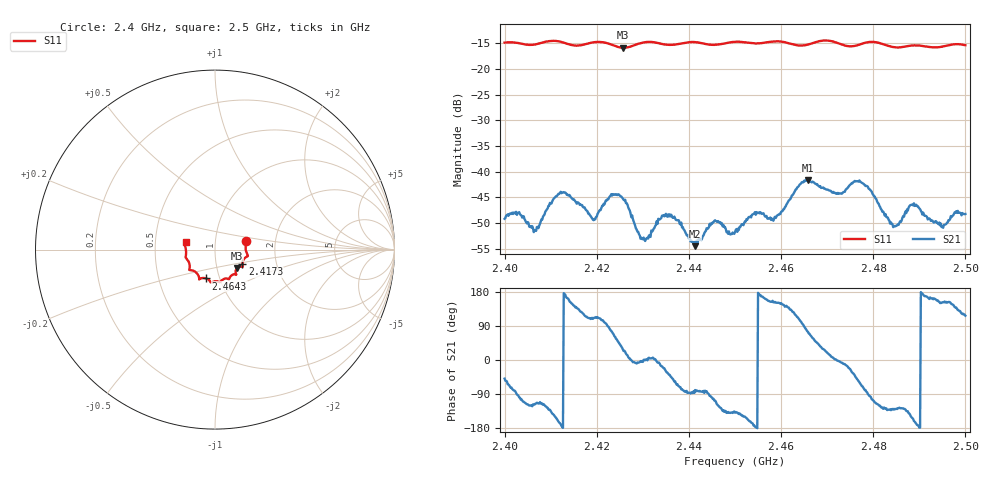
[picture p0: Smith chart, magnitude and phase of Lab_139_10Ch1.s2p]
# Hz S RI R 50
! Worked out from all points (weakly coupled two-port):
!   601 points, 2.4 GHz to 2.5 GHz, reference 50 ohm
!   highest |S21| = -41.63 dB at 2.4658 GHz (marker M1); lowest = -54.5 dB at 2.4413 GHz (marker M2)
!   lowest |S11| = -15.9 dB at 2.4257 GHz (marker M3), VSWR 1.38, Z = 62.5 - j13.1 ohm
!   |S11| at or under -10 dB: start of sweep to end of sweep
!   S12 and S22 are empty: the file has one direction only
!   S11 on the Smith chart (normalised r, x): 2.4 GHz: 1.41, +0.14; 2.4173 GHz: 1.34, -0.22; 2.4643 GHz: 0.86, -0.28; 2.5 GHz: 0.72, +0.06
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2.4e9  0.1731 0.0486  0.00227 -0.00264  0 0  0 0
2.406833e9  0.1729 -0.00834  -0.00111 -0.00241  0 0  0 0
2.412e9  0.1801 -0.0378  -0.00603 -0.00145  0 0  0 0
2.416667e9  0.1525 -0.0742  -0.00283 0.00379  0 0  0 0
2.417333e9  0.1519 -0.0816  -0.0021 0.00399  0 0  0 0
2.4195e9  0.1534 -0.0969  -0.00129 0.00323  0 0  0 0
2.425667e9  0.1229 -0.1023  0.00486 0.00253  0 0  0 0
2.43e9  0.1172 -0.1367  0.0022 -0.000196  0 0  0 0
2.433333e9  0.1128 -0.1374  0.00346 -0.000439  0 0  0 0
2.436333e9  0.0916 -0.1443  0.00245 -0.00271  0 0  0 0
2.441333e9  0.0768 -0.1649  0.000354 -0.00186  0 0  0 0
2.445667e9  0.0505 -0.1634  -0.00099 -0.00323  0 0  0 0
2.45e9  0.0288 -0.1809  -0.00195 -0.0017  0 0  0 0
2.458667e9  -0.0215 -0.1836  -0.00325 0.00164  0 0  0 0
2.464333e9  -0.0499 -0.1605  -0.00149 0.00755  0 0  0 0
2.465833e9  -0.0674 -0.1582  0.00222 0.00798  0 0  0 0
2.466667e9  -0.0758 -0.1594  0.00389 0.00685  0 0  0 0
2.4775e9  -0.1314 -0.1153  0.0029 -0.00724  0 0  0 0
2.483333e9  -0.1407 -0.0898  -0.00224 -0.00256  0 0  0 0
2.488333e9  -0.1611 -0.0487  -0.0042 -0.00227  0 0  0 0
2.495e9  -0.1639 0.00982  -0.00262 0.00138  0 0  0 0
2.5e9  -0.164 0.043  -0.00176 0.00346  0 0  0 0
